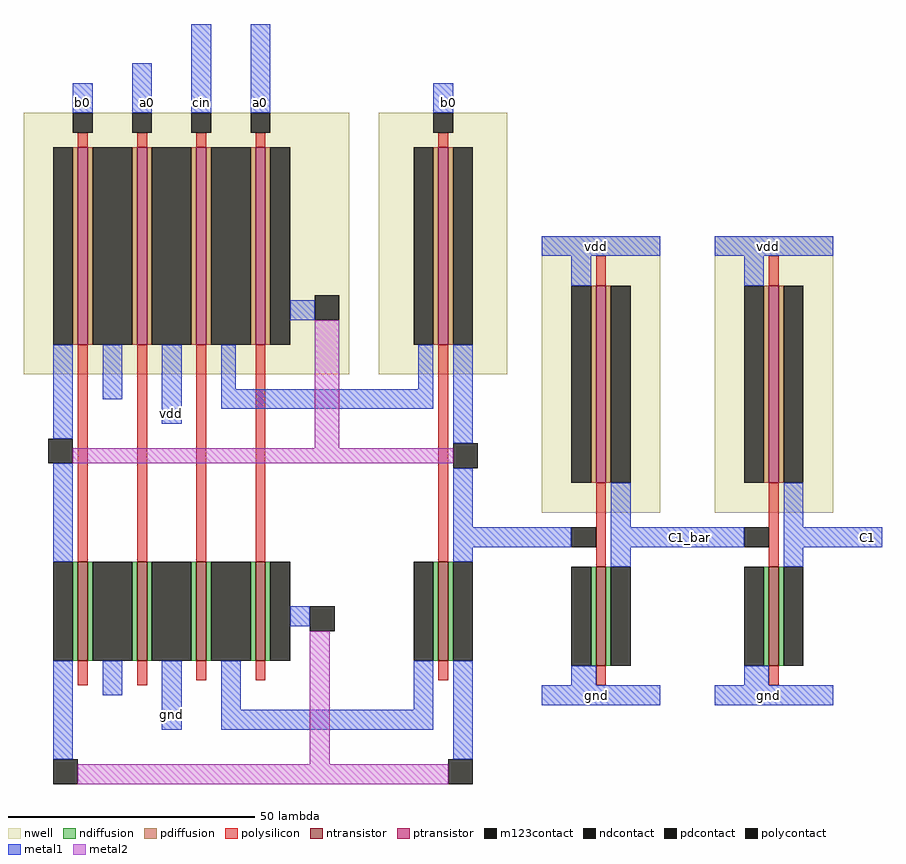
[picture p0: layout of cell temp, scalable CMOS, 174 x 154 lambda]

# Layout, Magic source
magic
tech scmos
<< nwell >>
rect 0 -1 66 52
rect 72 -1 98 52
rect 105 -29 129 27
rect 140 -29 164 27
<< ntransistor >>
rect 11 -59 13 -39
rect 23 -59 25 -39
rect 35 -59 37 -39
rect 47 -59 49 -39
rect 84 -59 86 -39
rect 116 -60 118 -40
rect 151 -60 153 -40
<< ptransistor >>
rect 11 5 13 45
rect 23 5 25 45
rect 35 5 37 45
rect 47 5 49 45
rect 84 5 86 45
rect 116 -23 118 17
rect 151 -23 153 17
<< ndiffusion >>
rect 10 -59 11 -39
rect 13 -59 14 -39
rect 22 -59 23 -39
rect 25 -59 26 -39
rect 34 -59 35 -39
rect 37 -59 38 -39
rect 46 -59 47 -39
rect 49 -59 50 -39
rect 83 -59 84 -39
rect 86 -59 87 -39
rect 115 -60 116 -40
rect 118 -60 119 -40
rect 150 -60 151 -40
rect 153 -60 154 -40
<< pdiffusion >>
rect 10 5 11 45
rect 13 5 14 45
rect 22 5 23 45
rect 25 5 26 45
rect 34 5 35 45
rect 37 5 38 45
rect 46 5 47 45
rect 49 5 50 45
rect 83 5 84 45
rect 86 5 87 45
rect 115 -23 116 17
rect 118 -23 119 17
rect 150 -23 151 17
rect 153 -23 154 17
<< ndcontact >>
rect 6 -59 10 -39
rect 14 -59 22 -39
rect 26 -59 34 -39
rect 38 -59 46 -39
rect 50 -59 54 -39
rect 79 -59 83 -39
rect 87 -59 91 -39
rect 111 -60 115 -40
rect 119 -60 123 -40
rect 146 -60 150 -40
rect 154 -60 158 -40
<< pdcontact >>
rect 6 5 10 45
rect 14 5 22 45
rect 26 5 34 45
rect 38 5 46 45
rect 50 5 54 45
rect 79 5 83 45
rect 87 5 91 45
rect 111 -23 115 17
rect 119 -23 123 17
rect 146 -23 150 17
rect 154 -23 158 17
<< polysilicon >>
rect 11 45 13 48
rect 23 45 25 48
rect 35 45 37 48
rect 47 45 49 48
rect 84 45 86 48
rect 116 17 118 23
rect 151 17 153 23
rect 11 -39 13 5
rect 23 -39 25 5
rect 35 -39 37 5
rect 47 -39 49 5
rect 84 -39 86 5
rect 116 -40 118 -23
rect 151 -40 153 -23
rect 11 -64 13 -59
rect 23 -64 25 -59
rect 35 -63 37 -59
rect 47 -63 49 -59
rect 84 -63 86 -59
rect 116 -64 118 -60
rect 151 -64 153 -60
<< polycontact >>
rect 10 48 14 52
rect 22 48 26 52
rect 34 48 38 52
rect 46 48 50 52
rect 83 48 87 52
rect 111 -36 116 -32
rect 146 -36 151 -32
<< metal1 >>
rect 10 52 14 58
rect 22 52 26 62
rect 34 52 38 70
rect 46 52 50 70
rect 83 52 87 58
rect 54 10 59 14
rect 6 -14 10 5
rect 16 -6 20 5
rect 28 -11 32 5
rect 40 -4 43 5
rect 80 -4 83 5
rect 40 -8 83 -4
rect 105 23 129 27
rect 140 23 164 27
rect 6 -39 10 -19
rect 87 -15 91 5
rect 111 17 115 23
rect 146 17 150 23
rect 87 -32 91 -20
rect 119 -32 123 -23
rect 154 -32 158 -23
rect 87 -36 111 -32
rect 119 -36 146 -32
rect 154 -36 174 -32
rect 87 -39 91 -36
rect 54 -52 58 -48
rect 6 -79 10 -59
rect 16 -66 20 -59
rect 28 -73 32 -59
rect 40 -69 44 -59
rect 79 -69 83 -59
rect 40 -73 83 -69
rect 119 -40 123 -36
rect 154 -40 158 -36
rect 87 -79 91 -59
rect 111 -64 116 -60
rect 146 -64 151 -60
rect 105 -68 129 -64
rect 140 -68 164 -64
<< metal2 >>
rect 59 -16 64 10
rect 10 -19 87 -16
rect 58 -80 62 -53
rect 11 -84 86 -80
<< m123contact >>
rect 59 10 64 15
rect 5 -19 10 -14
rect 87 -20 92 -15
rect 58 -53 63 -48
rect 6 -84 11 -79
rect 86 -84 91 -79
<< labels >>
rlabel metal1 30 -70 30 -70 1 gnd
rlabel metal1 116 25 116 25 5 vdd
rlabel metal1 116 -66 116 -66 1 gnd
rlabel metal1 30 -9 30 -9 1 vdd
rlabel metal1 12 54 12 54 1 b0
rlabel metal1 25 54 25 54 1 a0
rlabel metal1 36 54 36 54 1 cin
rlabel metal1 48 54 48 54 1 a0
rlabel metal1 86 54 86 54 1 b0
rlabel metal1 151 25 151 25 5 vdd
rlabel metal1 151 -66 151 -66 1 gnd
rlabel metal1 135 -34 135 -34 1 C1_bar
rlabel metal1 171 -34 171 -34 7 C1
<< end >>
